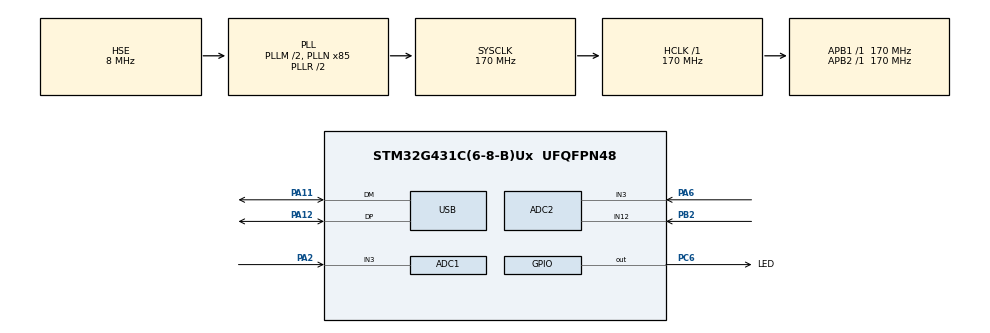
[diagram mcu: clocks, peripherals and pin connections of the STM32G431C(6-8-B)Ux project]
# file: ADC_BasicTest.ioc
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ADC1.Channel-0\#ChannelRegularConversion=ADC_CHANNEL_3
ADC1.ContinuousConvMode=ENABLE
ADC1.DMAContinuousRequests=ENABLE
ADC1.NbrOfConversionFlag=1
ADC1.OffsetNumber-0\#ChannelRegularConversion=ADC_OFFSET_NONE
ADC1.Rank-0\#ChannelRegularConversion=1
ADC1.SamplingTime-0\#ChannelRegularConversion=ADC_SAMPLETIME_640CYCLES_5
ADC1.master=1
ADC2.Channel-0\#ChannelRegularConversion=ADC_CHANNEL_12
ADC2.Channel-1\#ChannelRegularConversion=ADC_CHANNEL_3
ADC2.ContinuousConvMode=ENABLE
ADC2.DMAContinuousRequests=ENABLE
ADC2.NbrOfConversion=2
ADC2.NbrOfConversionFlag=1
ADC2.OffsetNumber-0\#ChannelRegularConversion=ADC_OFFSET_NONE
ADC2.OffsetNumber-1\#ChannelRegularConversion=ADC_OFFSET_NONE
ADC2.Rank-0\#ChannelRegularConversion=1
ADC2.Rank-1\#ChannelRegularConversion=2
ADC2.SamplingTime-0\#ChannelRegularConversion=ADC_SAMPLETIME_640CYCLES_5
ADC2.SamplingTime-1\#ChannelRegularConversion=ADC_SAMPLETIME_640CYCLES_5
Dma.ADC1.1.Direction=DMA_PERIPH_TO_MEMORY
Dma.ADC1.1.EventEnable=DISABLE
Dma.ADC1.1.Instance=DMA1_Channel2
Dma.ADC1.1.MemDataAlignment=DMA_MDATAALIGN_HALFWORD
Dma.ADC1.1.MemInc=DMA_MINC_ENABLE
Dma.ADC1.1.Mode=DMA_CIRCULAR
Dma.ADC1.1.PeriphDataAlignment=DMA_PDATAALIGN_HALFWORD
Dma.ADC1.1.PeriphInc=DMA_PINC_DISABLE
Dma.ADC1.1.Polarity=HAL_DMAMUX_REQ_GEN_RISING
Dma.ADC1.1.Priority=DMA_PRIORITY_LOW
Dma.ADC1.1.RequestNumber=1
Dma.ADC1.1.SignalID=NONE
Dma.ADC1.1.SyncEnable=DISABLE
Dma.ADC1.1.SyncPolarity=HAL_DMAMUX_SYNC_NO_EVENT
Dma.ADC1.1.SyncRequestNumber=1
Dma.ADC1.1.SyncSignalID=NONE
Dma.ADC2.0.Direction=DMA_PERIPH_TO_MEMORY
Dma.ADC2.0.EventEnable=DISABLE
Dma.ADC2.0.Instance=DMA1_Channel1
Dma.ADC2.0.MemDataAlignment=DMA_MDATAALIGN_HALFWORD
Dma.ADC2.0.MemInc=DMA_MINC_ENABLE
Dma.ADC2.0.Mode=DMA_CIRCULAR
Dma.ADC2.0.PeriphDataAlignment=DMA_PDATAALIGN_HALFWORD
Dma.ADC2.0.PeriphInc=DMA_PINC_DISABLE
Dma.ADC2.0.Polarity=HAL_DMAMUX_REQ_GEN_RISING
Dma.ADC2.0.Priority=DMA_PRIORITY_LOW
Dma.ADC2.0.RequestNumber=1
Dma.ADC2.0.SignalID=NONE
Dma.ADC2.0.SyncEnable=DISABLE
Dma.ADC2.0.SyncPolarity=HAL_DMAMUX_SYNC_NO_EVENT
Dma.ADC2.0.SyncRequestNumber=1
Dma.ADC2.0.SyncSignalID=NONE
Dma.Request0=ADC2
Dma.Request1=ADC1
FREERTOS.Tasks01=defaultTask,0,128,StartDefaultTask,Default,NULL,Dynamic,NULL,NULL
Mcu.Family=STM32G4
Mcu.Name=STM32G431C(6-8-B)Ux
Mcu.Package=UFQFPN48
NVIC.PriorityGroup=NVIC_PRIORITYGROUP_4
NVIC.TIM1_TRG_COM_TIM17_IRQn=true\:15\:0\:false\:false\:true\:false\:false\:true\:true
NVIC.TimeBase=TIM1_TRG_COM_TIM17_IRQn
NVIC.TimeBaseIP=TIM17
NVIC.USB_LP_IRQn=true\:5\:0\:false\:false\:true\:true\:false\:true\:true
PA11.Mode=Device
PA11.Signal=USB_DM
PA12.Mode=Device
PA12.Signal=USB_DP
PA13.Mode=Serial_Wire
PA13.Signal=SYS_JTMS-SWDIO
PA14.Mode=Serial_Wire
PA14.Signal=SYS_JTCK-SWCLK
PA2.Mode=IN3-Single-Ended
PA2.Signal=ADC1_IN3
PA6.Mode=IN3-Single-Ended
PA6.Signal=ADC2_IN3
PB2.Mode=IN12-Single-Ended
PB2.Signal=ADC2_IN12
PC6.GPIO_Label=LED
PC6.GPIO_PuPd=GPIO_PULLDOWN
PC6.GPIO_Speed=GPIO_SPEED_FREQ_LOW
PC6.PinState=GPIO_PIN_RESET
PC6.Signal=GPIO_Output
PF0-OSC_IN.Mode=HSE-External-Oscillator
PF0-OSC_IN.Signal=RCC_OSC_IN
PF1-OSC_OUT.Mode=HSE-External-Oscillator
PF1-OSC_OUT.Signal=RCC_OSC_OUT
ProjectManager.HeapSize=0x100
ProjectManager.StackSize=0xA00
ProjectManager.TargetToolchain=MDK-ARM V5.32
RCC.ADC12Freq_Value=170000000
RCC.AHBFreq_Value=170000000
RCC.APB1Freq_Value=170000000
RCC.APB1TimFreq_Value=170000000
RCC.APB2Freq_Value=170000000
RCC.APB2TimFreq_Value=170000000
RCC.CK48CLockSelection=RCC_USBCLKSOURCE_HSI48
RCC.CortexFreq_Value=170000000
RCC.EXTERNAL_CLOCK_VALUE=12288000
RCC.HCLKFreq_Value=170000000
RCC.HSE_VALUE=8000000
RCC.HSI48_VALUE=48000000
RCC.HSI_VALUE=16000000
RCC.LSE_VALUE=32768
RCC.PLLM=RCC_PLLM_DIV2
RCC.PLLN=85
RCC.PLLSourceVirtual=RCC_PLLSOURCE_HSE
RCC.SYSCLKFreq_VALUE=170000000
RCC.SYSCLKSource=RCC_SYSCLKSOURCE_PLLCLK
RCC.USBFreq_Value=48000000
RCC.VCOOutputFreq_Value=340000000
TIM7.Prescaler=169
USB_DEVICE.CLASS_NAME_FS=CDC
USB_DEVICE.VirtualMode=Cdc
USB_DEVICE.VirtualModeFS=Cdc_FS
VP_FREERTOS_VS_CMSIS_V1.Mode=CMSIS_V1
VP_SYS_VS_DBSignals.Mode=DisableDeadBatterySignals
VP_SYS_VS_tim17.Mode=TIM17
VP_TIM7_VS_ClockSourceINT.Mode=Enable_Timer
VP_USB_DEVICE_VS_USB_DEVICE_CDC_FS.Mode=CDC_FS
board=custom

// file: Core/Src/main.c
/* USER CODE BEGIN Header */
/**
  ******************************************************************************
  * @file           : main.c
  * @brief          : Main program body
  ******************************************************************************
  * @attention
  *
  * Copyright (c) 2025 STMicroelectronics.
  * All rights reserved.
  *
  * This software is licensed under terms that can be found in the LICENSE file
  * in the root directory of this software component.
  * If no LICENSE file comes with this software, it is provided AS-IS.
  *
  ******************************************************************************
  */
/* USER CODE END Header */
#include "main.h"
#include "cmsis_os.h"
#include "adc.h"
#include "dma.h"
#include "tim.h"
#include "usb_device.h"
#include "gpio.h"

void SystemClock_Config(void);
void MX_FREERTOS_Init(void);

int main(void)
{

  /* MCU Configuration--------------------------------------------------------*/

  /* Reset of all peripherals, Initializes the Flash interface and the Systick. */
  HAL_Init();

  /* Configure the system clock */
  SystemClock_Config();

  /* Initialize all configured peripherals */
  MX_GPIO_Init();
  MX_DMA_Init();
  MX_USB_Device_Init();
  MX_ADC2_Init();
  MX_TIM7_Init();
  MX_ADC1_Init();
  /* USER CODE BEGIN 2 */
  LL_TIM_SetCounter(TIM7, 0);
//	LL_TIM_EnableIT_UPDATE(TIM7);//start TIM7 IRQ
	LL_TIM_EnableCounter(TIM7);//Enable TIM7
  /* USER CODE END 2 */

  /* Call init function for freertos objects (in freertos.c) */
  MX_FREERTOS_Init();

  /* Start scheduler */
  osKernelStart();

  /* We should never get here as control is now taken by the scheduler */
  /* Infinite loop */
  while (1)
  {

  }
}

void SystemClock_Config(void)
{
  RCC_OscInitTypeDef RCC_OscInitStruct = {0};
  RCC_ClkInitTypeDef RCC_ClkInitStruct = {0};

  /** Configure the main internal regulator output voltage
  */
  HAL_PWREx_ControlVoltageScaling(PWR_REGULATOR_VOLTAGE_SCALE1_BOOST);

  /** Initializes the RCC Oscillators according to the specified parameters
  * in the RCC_OscInitTypeDef structure.
  */
  RCC_OscInitStruct.OscillatorType = RCC_OSCILLATORTYPE_HSI48|RCC_OSCILLATORTYPE_HSE;
  RCC_OscInitStruct.HSEState = RCC_HSE_ON;
  RCC_OscInitStruct.HSI48State = RCC_HSI48_ON;
  RCC_OscInitStruct.PLL.PLLState = RCC_PLL_ON;
  RCC_OscInitStruct.PLL.PLLSource = RCC_PLLSOURCE_HSE;
  RCC_OscInitStruct.PLL.PLLM = RCC_PLLM_DIV2;
  RCC_OscInitStruct.PLL.PLLN = 85;
  RCC_OscInitStruct.PLL.PLLP = RCC_PLLP_DIV2;
  RCC_OscInitStruct.PLL.PLLQ = RCC_PLLQ_DIV2;
  RCC_OscInitStruct.PLL.PLLR = RCC_PLLR_DIV2;
  if (HAL_RCC_OscConfig(&RCC_OscInitStruct) != HAL_OK)
  {
    Error_Handler();
  }

  /** Initializes the CPU, AHB and APB buses clocks
  */
  RCC_ClkInitStruct.ClockType = RCC_CLOCKTYPE_HCLK|RCC_CLOCKTYPE_SYSCLK
                              |RCC_CLOCKTYPE_PCLK1|RCC_CLOCKTYPE_PCLK2;
  RCC_ClkInitStruct.SYSCLKSource = RCC_SYSCLKSOURCE_PLLCLK;
  RCC_ClkInitStruct.AHBCLKDivider = RCC_SYSCLK_DIV1;
  RCC_ClkInitStruct.APB1CLKDivider = RCC_HCLK_DIV1;
  RCC_ClkInitStruct.APB2CLKDivider = RCC_HCLK_DIV1;

  if (HAL_RCC_ClockConfig(&RCC_ClkInitStruct, FLASH_LATENCY_4) != HAL_OK)
  {
    Error_Handler();
  }
}

void HAL_TIM_PeriodElapsedCallback(TIM_HandleTypeDef *htim)
{
  if (htim->Instance == TIM17) {
    HAL_IncTick();
  }
}

void Error_Handler(void)
{
  __disable_irq();
  while (1)
  {
  }
}

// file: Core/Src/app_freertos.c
/* USER CODE BEGIN Header */
/**
  ******************************************************************************
  * File Name          : app_freertos.c
  * Description        : Code for freertos applications
  ******************************************************************************
  * @attention
  *
  * Copyright (c) 2025 STMicroelectronics.
  * All rights reserved.
  *
  * This software is licensed under terms that can be found in the LICENSE file
  * in the root directory of this software component.
  * If no LICENSE file comes with this software, it is provided AS-IS.
  *
  ******************************************************************************
  */
/* USER CODE END Header */

#include "FreeRTOS.h"
#include "task.h"
#include "main.h"
#include "cmsis_os.h"

osThreadId defaultTaskHandle;

void StartDefaultTask(void const * argument);

void MX_FREERTOS_Init(void); /* (MISRA C 2004 rule 8.1) */

void MX_FREERTOS_Init(void) {

  /* Create the thread(s) */
  /* definition and creation of defaultTask */
  osThreadDef(defaultTask, StartDefaultTask, osPriorityNormal, 0, 128);
  defaultTaskHandle = osThreadCreate(osThread(defaultTask), NULL);

}

/* USER CODE BEGIN Header_StartDefaultTask */
/**
  * @brief  Function implementing the defaultTask thread.
  * @param  argument: Not used
  * @retval None
  */
uint16_t adc1_value[1];
uint16_t adc2_value[2];
/* USER CODE END Header_StartDefaultTask */
void StartDefaultTask(void const * argument)
{
  /* USER CODE BEGIN StartDefaultTask */
	char usb_buff[128]={0};
	HAL_ADC_Start_DMA(&hadc1, (uint32_t *)adc1_value, 1);
	HAL_ADC_Start_DMA(&hadc2, (uint32_t *)adc2_value, 2);
  /* Infinite loop */
	for(;;)
	{
		HAL_GPIO_TogglePin(LED_GPIO_Port,LED_Pin);
		sprintf(usb_buff,"PA2 ADC1_IN3:%d\r\nPA6 ADC2_IN3:%d\r\nPB2 ADC2_IN12:%d\r\n\r\n\r\n",adc1_value[0],adc2_value[1],adc2_value[0]);
		CDC_Transmit_FS((uint8_t *)usb_buff,strlen(usb_buff));
//		for(uint16_t i =0; i<500;i++)
//		user_delaynus_tim(1000);
		osDelay(500);
	}
  /* USER CODE END StartDefaultTask */
}

/* USER CODE BEGIN Application */
void user_delaynus_tim(uint16_t nus)
{

	LL_TIM_SetCounter(TIM7, 0);
	while (LL_TIM_GetCounter(TIM7) < nus)
	{
		;// Optionally, add a timeout condition here to avoid an infinite loop
	}
}
/* USER CODE END Application */
